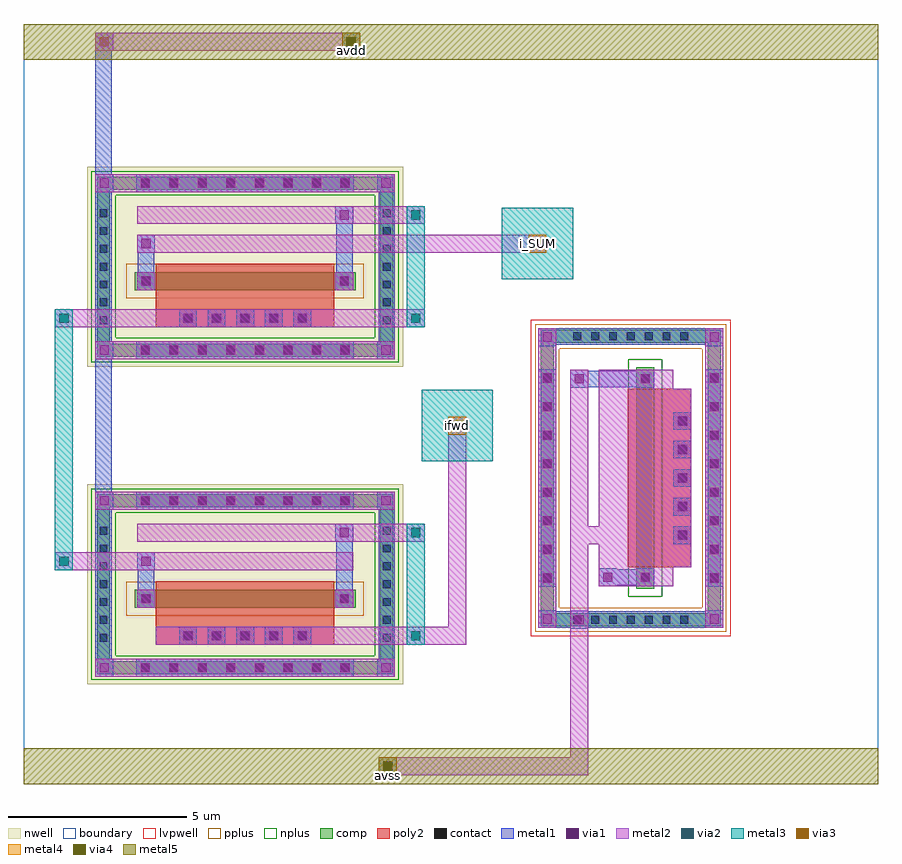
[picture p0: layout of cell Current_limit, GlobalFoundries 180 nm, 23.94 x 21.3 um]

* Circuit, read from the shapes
.subckt Current_limit avdd avss i_SUM ifwd
XM1 avss avss avss avss nfet_03v3 w=0.5u l=5u
XM2 ifwd ifwd n1 avdd pfet_03v3 w=0.5u l=5u
XM3 n1 n1 i_SUM avdd pfet_03v3 w=0.5u l=5u
.ends

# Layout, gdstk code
from math import pi, radians
import gdstk
lib = gdstk.Library(unit=1e-6, precision=1e-09)
def R(c, l, rs):  # rectangles x0, y0, x1, y1
    for r in rs: c.add(gdstk.rectangle(r[:2], r[2:], *l))
def A(c, l, x, y, w, h, nx, ny, dx, dy):  # array of equal rectangles
    R(c, l, [(x+i*dx, y+j*dy, x+i*dx+w, y+j*dy+h) for i in range(nx) for j in range(ny)])
def P(c, l, *ps):  # polygons
    for p in ps: c.add(gdstk.Polygon(p, *l))
boundary = (0, 0)
nwell = (21, 0)
comp = (22, 0)
poly2 = (30, 0)
pplus = (31, 0)
nplus = (32, 0)
contact = (33, 0)
metal1 = (34, 0)
via1 = (35, 0)
metal2 = (36, 0)
via2 = (38, 0)
via3 = (40, 0)
via4 = (41, 0)
metal3 = (42, 0)
metal4 = (46, 0)
metal5 = (81, 0)
lvpwell = (204, 0)

c_m0 = lib.new_cell('M0')
R(c_m0, nwell, [(-4.43,-2.8,4.43,2.8), (-4.27,-2.64,4.27,2.64)])
A(c_m0, comp, -2.98, -2.52, 0.36, 0.36, 8, 2, 0.8, 4.68)
A(c_m0, comp, -4.15, -1.68, 0.36, 0.36, 1, 7, 0, 0.5)
A(c_m0, comp, 3.79, -1.68, 0.36, 0.36, 1, 7, 0, 0.5)
R(c_m0, comp, [(-2.98,-2.52,2.98,-2.16), (-4.15,-1.68,-3.79,1.68), (3.79,-1.68,4.15,1.68), (-3.1,-0.655,3.1,-0.155), (-2.98,2.16,2.98,2.52)])
P(c_m0, comp, [(-4.15,-2.52),(-4.15,-2.16),(-3.79,-2.16),(3.79,-2.16),(3.79,2.16),(-3.79,2.16),(-3.79,-2.16),(-4.15,-2.16),(-4.15,2.52),(4.15,2.52),(4.15,-2.52)])
A(c_m0, poly2, -1.78, -1.625, 0.36, 0.36, 5, 1, 0.8, 0)
R(c_m0, poly2, [(-2.5,-1.695,2.5,-1.195), (-2.5,-1.195,2.5,-0.895), (-2.5,-0.895,2.5,0.085)])
R(c_m0, pplus, [(-3.33,-0.885,3.33,0.075)])
P(c_m0, nplus, [(-4.31,-2.68),(-4.31,-2),(-3.63,-2),(3.63,-2),(3.63,2),(-3.63,2),(-3.63,-2),(-4.31,-2),(-4.31,2.68),(4.31,2.68),(4.31,-2.68)])
A(c_m0, contact, -2.91, -2.45, 0.22, 0.22, 8, 2, 0.8, 4.68)
A(c_m0, contact, -4.08, -1.61, 0.22, 0.22, 1, 7, 0, 0.5)
A(c_m0, contact, 3.86, -1.61, 0.22, 0.22, 1, 7, 0, 0.5)
A(c_m0, contact, -1.71, -1.555, 0.22, 0.22, 5, 1, 0.8, 0)
R(c_m0, contact, [(-2.89,-0.515,-2.67,-0.295), (2.67,-0.515,2.89,-0.295)])
A(c_m0, metal1, -3.05, -2.59, 0.5, 0.5, 8, 2, 0.8, 4.68)
A(c_m0, metal1, -4.2, -1.73, 0.46, 0.46, 1, 7, 0, 0.5)
A(c_m0, metal1, 3.74, -1.73, 0.46, 0.46, 1, 7, 0, 0.5)
A(c_m0, metal1, -1.85, -1.695, 0.5, 0.5, 5, 1, 0.8, 0)
R(c_m0, metal1, [(-4.2,-2.59,-3.7,-2.09), (-4.2,-2.59,-3.7,-2.09), (-4.2,-2.59,-3.74,-2.16), (-3.05,-2.59,3.05,-2.09), (3.7,-2.59,4.2,-2.09), (3.7,-2.59,4.2,-2.09), (3.74,-2.59,4.2,-2.16), (-4.2,-2.16,-3.74,2.16), (3.74,-2.16,4.2,2.16), (-3.03,-0.655,-2.53,-0.155), (-3.03,-0.655,-2.53,-0.155), (-3.01,-0.655,-2.55,-0.155), (2.53,-0.655,3.03,-0.155), (2.53,-0.655,3.03,-0.155), (2.55,-0.655,3.01,-0.155), (-3.01,-0.635,-2.55,-0.175), (2.55,-0.635,3.01,-0.175), (-3.01,-0.155,-2.55,0.895), (2.55,-0.155,3.01,1.695), (-3.03,0.395,-2.53,0.895), (2.53,1.195,3.03,1.695), (-4.2,2.09,-3.7,2.59), (-4.2,2.09,-3.7,2.59), (-3.05,2.09,3.05,2.59), (3.7,2.09,4.2,2.59), (3.7,2.09,4.2,2.59), (-4.2,2.16,-3.74,2.59), (3.74,2.16,4.2,2.59)])
A(c_m0, via1, -2.93, -2.47, 0.26, 0.26, 8, 2, 0.8, 4.68)
A(c_m0, via1, -1.73, -1.575, 0.26, 0.26, 5, 1, 0.8, 0)
R(c_m0, via1, [(-4.08,-2.47,-3.82,-2.21), (3.82,-2.47,4.08,-2.21), (-2.91,-0.535,-2.65,-0.275), (2.65,-0.535,2.91,-0.275), (-2.91,0.515,-2.65,0.775), (2.65,1.315,2.91,1.575), (-4.08,2.21,-3.82,2.47), (3.82,2.21,4.08,2.47)])
A(c_m0, metal2, -3.05, -2.59, 0.5, 0.5, 8, 2, 0.8, 4.68)
A(c_m0, metal2, -1.85, -1.695, 0.5, 0.5, 5, 1, 0.8, 0)
R(c_m0, metal2, [(-4.2,-2.59,-3.7,-2.09), (-4.2,-2.59,-3.7,-2.09), (-4.2,-2.59,-3.79,-2.09), (-3.79,-2.59,3.79,-2.09), (3.7,-2.59,4.2,-2.09), (3.7,-2.59,4.2,-2.09), (3.79,-2.59,4.2,-2.09), (-2.5,-1.695,2.5,-1.195), (-3.03,-0.655,-2.53,-0.155), (-3.03,-0.655,-2.53,-0.155), (2.53,-0.655,3.03,-0.155), (2.53,-0.655,3.03,-0.155), (-3.03,0.395,-2.53,0.895), (-3.03,0.395,3.03,0.895), (-3.03,1.195,3.03,1.695), (2.53,1.195,3.03,1.695), (-4.2,2.09,-3.7,2.59), (-4.2,2.09,-3.7,2.59), (-4.2,2.09,-3.79,2.59), (-3.79,2.09,3.79,2.59), (3.7,2.09,4.2,2.59), (3.7,2.09,4.2,2.59), (3.79,2.09,4.2,2.59)])

c_m1 = lib.new_cell('M1')
R(c_m1, nwell, [(-4.43,-2.8,4.43,2.8), (-4.27,-2.64,4.27,2.64)])
A(c_m1, comp, -2.98, -2.52, 0.36, 0.36, 8, 2, 0.8, 4.68)
A(c_m1, comp, -4.15, -1.68, 0.36, 0.36, 1, 7, 0, 0.5)
A(c_m1, comp, 3.79, -1.68, 0.36, 0.36, 1, 7, 0, 0.5)
R(c_m1, comp, [(-2.98,-2.52,2.98,-2.16), (-4.15,-1.68,-3.79,1.68), (3.79,-1.68,4.15,1.68), (-3.1,-0.655,3.1,-0.155), (-2.98,2.16,2.98,2.52)])
P(c_m1, comp, [(-4.15,-2.52),(-4.15,-2.16),(-3.79,-2.16),(3.79,-2.16),(3.79,2.16),(-3.79,2.16),(-3.79,-2.16),(-4.15,-2.16),(-4.15,2.52),(4.15,2.52),(4.15,-2.52)])
A(c_m1, poly2, -1.78, -1.625, 0.36, 0.36, 5, 1, 0.8, 0)
R(c_m1, poly2, [(-2.5,-1.695,2.5,-1.195), (-2.5,-1.195,2.5,-0.895), (-2.5,-0.895,2.5,0.085)])
R(c_m1, pplus, [(-3.33,-0.885,3.33,0.075)])
P(c_m1, nplus, [(-4.31,-2.68),(-4.31,-2),(-3.63,-2),(3.63,-2),(3.63,2),(-3.63,2),(-3.63,-2),(-4.31,-2),(-4.31,2.68),(4.31,2.68),(4.31,-2.68)])
A(c_m1, contact, -2.91, -2.45, 0.22, 0.22, 8, 2, 0.8, 4.68)
A(c_m1, contact, -4.08, -1.61, 0.22, 0.22, 1, 7, 0, 0.5)
A(c_m1, contact, 3.86, -1.61, 0.22, 0.22, 1, 7, 0, 0.5)
A(c_m1, contact, -1.71, -1.555, 0.22, 0.22, 5, 1, 0.8, 0)
R(c_m1, contact, [(-2.89,-0.515,-2.67,-0.295), (2.67,-0.515,2.89,-0.295)])
A(c_m1, metal1, -3.05, -2.59, 0.5, 0.5, 8, 2, 0.8, 4.68)
A(c_m1, metal1, -4.2, -1.73, 0.46, 0.46, 1, 7, 0, 0.5)
A(c_m1, metal1, 3.74, -1.73, 0.46, 0.46, 1, 7, 0, 0.5)
A(c_m1, metal1, -1.85, -1.695, 0.5, 0.5, 5, 1, 0.8, 0)
R(c_m1, metal1, [(-4.2,-2.59,-3.7,-2.09), (-4.2,-2.59,-3.7,-2.09), (-4.2,-2.59,-3.74,-2.16), (-3.05,-2.59,3.05,-2.09), (3.7,-2.59,4.2,-2.09), (3.7,-2.59,4.2,-2.09), (3.74,-2.59,4.2,-2.16), (-4.2,-2.16,-3.74,2.16), (3.74,-2.16,4.2,2.16), (-3.03,-0.655,-2.53,-0.155), (-3.03,-0.655,-2.53,-0.155), (-3.01,-0.655,-2.55,-0.155), (2.53,-0.655,3.03,-0.155), (2.53,-0.655,3.03,-0.155), (2.55,-0.655,3.01,-0.155), (-3.01,-0.635,-2.55,-0.175), (2.55,-0.635,3.01,-0.175), (-3.01,-0.155,-2.55,0.895), (2.55,-0.155,3.01,1.695), (-3.03,0.395,-2.53,0.895), (2.53,1.195,3.03,1.695), (-4.2,2.09,-3.7,2.59), (-4.2,2.09,-3.7,2.59), (-3.05,2.09,3.05,2.59), (3.7,2.09,4.2,2.59), (3.7,2.09,4.2,2.59), (-4.2,2.16,-3.74,2.59), (3.74,2.16,4.2,2.59)])
A(c_m1, via1, -2.93, -2.47, 0.26, 0.26, 8, 2, 0.8, 4.68)
A(c_m1, via1, -1.73, -1.575, 0.26, 0.26, 5, 1, 0.8, 0)
R(c_m1, via1, [(-4.08,-2.47,-3.82,-2.21), (3.82,-2.47,4.08,-2.21), (-2.91,-0.535,-2.65,-0.275), (2.65,-0.535,2.91,-0.275), (-2.91,0.515,-2.65,0.775), (2.65,1.315,2.91,1.575), (-4.08,2.21,-3.82,2.47), (3.82,2.21,4.08,2.47)])
A(c_m1, metal2, -3.05, -2.59, 0.5, 0.5, 8, 2, 0.8, 4.68)
A(c_m1, metal2, -1.85, -1.695, 0.5, 0.5, 5, 1, 0.8, 0)
R(c_m1, metal2, [(-4.2,-2.59,-3.7,-2.09), (-4.2,-2.59,-3.7,-2.09), (-4.2,-2.59,-3.79,-2.09), (-3.79,-2.59,3.79,-2.09), (3.7,-2.59,4.2,-2.09), (3.7,-2.59,4.2,-2.09), (3.79,-2.59,4.2,-2.09), (-2.5,-1.695,2.5,-1.195), (-3.03,-0.655,-2.53,-0.155), (-3.03,-0.655,-2.53,-0.155), (2.53,-0.655,3.03,-0.155), (2.53,-0.655,3.03,-0.155), (-3.03,0.395,-2.53,0.895), (-3.03,0.395,3.03,0.895), (-3.03,1.195,3.03,1.695), (2.53,1.195,3.03,1.695), (-4.2,2.09,-3.7,2.59), (-4.2,2.09,-3.7,2.59), (-4.2,2.09,-3.79,2.59), (-3.79,2.09,3.79,2.59), (3.7,2.09,4.2,2.59), (3.7,2.09,4.2,2.59), (3.79,2.09,4.2,2.59)])

m1_1 = lib.new_cell('M1$1')
A(m1_1, comp, -2.98, -2.52, 0.36, 0.36, 8, 2, 0.8, 4.68)
A(m1_1, comp, -4.15, -1.68, 0.36, 0.36, 1, 7, 0, 0.5)
A(m1_1, comp, 3.79, -1.68, 0.36, 0.36, 1, 7, 0, 0.5)
R(m1_1, comp, [(-2.98,-2.52,2.98,-2.16), (-4.15,-1.68,-3.79,1.68), (3.79,-1.68,4.15,1.68), (-3.1,-0.655,3.1,-0.155), (-2.98,2.16,2.98,2.52)])
P(m1_1, comp, [(-4.15,-2.52),(-4.15,-2.16),(-3.79,-2.16),(3.79,-2.16),(3.79,2.16),(-3.79,2.16),(-3.79,-2.16),(-4.15,-2.16),(-4.15,2.52),(4.15,2.52),(4.15,-2.52)])
A(m1_1, poly2, -1.78, -1.625, 0.36, 0.36, 5, 1, 0.8, 0)
R(m1_1, poly2, [(-2.5,-1.695,2.5,-1.195), (-2.5,-1.195,2.5,-0.895), (-2.5,-0.895,2.5,0.085)])
P(m1_1, pplus, [(-4.31,-2.68),(-4.31,-2),(-3.63,-2),(3.63,-2),(3.63,2),(-3.63,2),(-3.63,-2),(-4.31,-2),(-4.31,2.68),(4.31,2.68),(4.31,-2.68)])
R(m1_1, nplus, [(-3.33,-0.885,3.33,0.075)])
A(m1_1, contact, -2.91, -2.45, 0.22, 0.22, 8, 2, 0.8, 4.68)
A(m1_1, contact, -4.08, -1.61, 0.22, 0.22, 1, 7, 0, 0.5)
A(m1_1, contact, 3.86, -1.61, 0.22, 0.22, 1, 7, 0, 0.5)
A(m1_1, contact, -1.71, -1.555, 0.22, 0.22, 5, 1, 0.8, 0)
R(m1_1, contact, [(-2.89,-0.515,-2.67,-0.295), (2.67,-0.515,2.89,-0.295)])
A(m1_1, metal1, -3.05, -2.59, 0.5, 0.5, 8, 2, 0.8, 4.68)
A(m1_1, metal1, -4.2, -1.73, 0.46, 0.46, 1, 7, 0, 0.5)
A(m1_1, metal1, 3.74, -1.73, 0.46, 0.46, 1, 7, 0, 0.5)
A(m1_1, metal1, -1.85, -1.695, 0.5, 0.5, 5, 1, 0.8, 0)
R(m1_1, metal1, [(-4.2,-2.59,-3.7,-2.09), (-4.2,-2.59,-3.7,-2.09), (-4.2,-2.59,-3.74,-2.16), (-3.05,-2.59,3.05,-2.09), (3.7,-2.59,4.2,-2.09), (3.7,-2.59,4.2,-2.09), (3.74,-2.59,4.2,-2.16), (-4.2,-2.16,-3.74,2.16), (3.74,-2.16,4.2,2.16), (-3.03,-0.655,-2.53,-0.155), (-3.03,-0.655,-2.53,-0.155), (-3.01,-0.655,-2.55,-0.155), (2.53,-0.655,3.03,-0.155), (2.53,-0.655,3.03,-0.155), (2.55,-0.655,3.01,-0.155), (-3.01,-0.635,-2.55,-0.175), (2.55,-0.635,3.01,-0.175), (-3.01,-0.155,-2.55,0.895), (2.55,-0.155,3.01,1.695), (-3.03,0.395,-2.53,0.895), (2.53,1.195,3.03,1.695), (-4.2,2.09,-3.7,2.59), (-4.2,2.09,-3.7,2.59), (-3.05,2.09,3.05,2.59), (3.7,2.09,4.2,2.59), (3.7,2.09,4.2,2.59), (-4.2,2.16,-3.74,2.59), (3.74,2.16,4.2,2.59)])
A(m1_1, via1, -2.93, -2.47, 0.26, 0.26, 8, 2, 0.8, 4.68)
A(m1_1, via1, -1.73, -1.575, 0.26, 0.26, 5, 1, 0.8, 0)
R(m1_1, via1, [(-4.08,-2.47,-3.82,-2.21), (3.82,-2.47,4.08,-2.21), (-2.91,-0.535,-2.65,-0.275), (2.65,-0.535,2.91,-0.275), (-2.91,0.515,-2.65,0.775), (2.65,1.315,2.91,1.575), (-4.08,2.21,-3.82,2.47), (3.82,2.21,4.08,2.47)])
A(m1_1, metal2, -3.05, -2.59, 0.5, 0.5, 8, 2, 0.8, 4.68)
A(m1_1, metal2, -1.85, -1.695, 0.5, 0.5, 5, 1, 0.8, 0)
R(m1_1, metal2, [(-4.2,-2.59,-3.7,-2.09), (-4.2,-2.59,-3.7,-2.09), (-4.2,-2.59,-3.79,-2.09), (-3.79,-2.59,3.79,-2.09), (3.7,-2.59,4.2,-2.09), (3.7,-2.59,4.2,-2.09), (3.79,-2.59,4.2,-2.09), (-2.5,-1.695,2.5,-1.195), (-3.03,-0.655,-2.53,-0.155), (-3.03,-0.655,-2.53,-0.155), (2.53,-0.655,3.03,-0.155), (2.53,-0.655,3.03,-0.155), (-3.03,0.395,-2.53,0.895), (-3.03,0.395,3.03,0.895), (-3.03,1.195,3.03,1.695), (2.53,1.195,3.03,1.695), (-4.2,2.09,-3.7,2.59), (-4.2,2.09,-3.7,2.59), (-4.2,2.09,-3.79,2.59), (-3.79,2.09,3.79,2.59), (3.7,2.09,4.2,2.59), (3.7,2.09,4.2,2.59), (3.79,2.09,4.2,2.59)])
R(m1_1, lvpwell, [(-4.43,-2.8,4.43,2.8)])

via_stack_d059dced = lib.new_cell('via_stack_d059dced')
R(via_stack_d059dced, metal2, [(-0.25,-0.25,0.25,0.25)])
R(via_stack_d059dced, via2, [(-0.13,-0.13,0.13,0.13)])
R(via_stack_d059dced, via3, [(-0.13,-0.13,0.13,0.13)])
R(via_stack_d059dced, metal3, [(-0.25,-0.25,0.25,0.25)])
R(via_stack_d059dced, metal4, [(-0.25,-0.25,0.25,0.25)])

straight_route_b402ec04 = lib.new_cell('straight_route_b402ec04')
R(straight_route_b402ec04, metal1, [(-4.2,-6.74,-3.74,-2.16)])

c_route_bedf7dd0 = lib.new_cell('c_route_bedf7dd0')
R(c_route_bedf7dd0, metal2, [(-5.33,-8.505,-3.03,-8.005), (-5.33,-8.505,-4.83,-8.005), (-5.33,-1.695,-4.83,-1.195), (-5.33,-1.695,-2.5,-1.195)])
R(c_route_bedf7dd0, via2, [(-5.21,-8.385,-4.95,-8.125), (-5.21,-1.575,-4.95,-1.315)])
R(c_route_bedf7dd0, metal3, [(-5.33,-8.505,-4.83,-8.005), (-5.33,-8.505,-4.83,-8.005), (-5.33,-8.505,-4.83,-1.195), (-5.33,-1.695,-4.83,-1.195), (-5.33,-1.695,-4.83,-1.195)])
P(c_route_bedf7dd0, metal3, [(-4.83,-8.505),(-4.83,-8.005),(-4.83,-8.005),(-4.83,-8.505)],
  [(-4.83,-1.695),(-4.83,-1.195),(-4.83,-1.195),(-4.83,-1.695)])

c_route_4b6a6f06 = lib.new_cell('c_route_4b6a6f06')
R(c_route_4b6a6f06, metal2, [(2.5,-1.695,5.03,-1.195), (4.53,-1.695,5.03,-1.195), (3.03,1.195,5.03,1.695), (4.53,1.195,5.03,1.695)])
R(c_route_4b6a6f06, via2, [(4.65,-1.575,4.91,-1.315), (4.65,1.315,4.91,1.575)])
R(c_route_4b6a6f06, metal3, [(4.53,-1.695,5.03,-1.195), (4.53,-1.695,5.03,-1.195), (4.53,-1.695,5.03,1.695), (4.53,1.195,5.03,1.695), (4.53,1.195,5.03,1.695)])
P(c_route_4b6a6f06, metal3, [(5.03,-1.695),(5.03,-1.195),(5.03,-1.195),(5.03,-1.695)],
  [(5.03,1.195),(5.03,1.695),(5.03,1.695),(5.03,1.195)])

l_route_e9264af4 = lib.new_cell('L_route_e9264af4')
R(l_route_e9264af4, metal2, [(2.5,-10.595,6.195,-10.095), (5.695,-10.595,6.195,-4.705)])

straight_route_ecd45504 = lib.new_cell('straight_route_ecd45504')
R(straight_route_ecd45504, metal2, [(10.415,-8.955,12.005,-2.895)])

straight_route_946b62ad = lib.new_cell('straight_route_946b62ad')
R(straight_route_946b62ad, metal2, [(9.115,-7.775,12.505,-7.275)])

straight_route_b6b944db = lib.new_cell('straight_route_b6b944db')
R(straight_route_b6b944db, metal1, [(9.115,-10.145,9.615,-9.645)])
R(straight_route_b6b944db, via1, [(9.235,-10.025,9.495,-9.765)])
R(straight_route_b6b944db, metal2, [(9.115,-10.145,9.615,-9.645), (9.115,-9.895,9.615,-2.895)])

c_route_d216f0a1 = lib.new_cell('c_route_d216f0a1')
R(c_route_d216f0a1, metal2, [(2.5,-10.595,5.03,-10.095), (4.53,-10.595,5.03,-10.095), (3.03,-7.705,5.03,-7.205), (4.53,-7.705,5.03,-7.205)])
R(c_route_d216f0a1, via2, [(4.65,-10.475,4.91,-10.215), (4.65,-7.585,4.91,-7.325)])
R(c_route_d216f0a1, metal3, [(4.53,-10.595,5.03,-10.095), (4.53,-10.595,5.03,-10.095), (4.53,-10.595,5.03,-7.205), (4.53,-7.705,5.03,-7.205), (4.53,-7.705,5.03,-7.205)])
P(c_route_d216f0a1, metal3, [(5.03,-10.595),(5.03,-10.095),(5.03,-10.095),(5.03,-10.595)],
  [(5.03,-7.705),(5.03,-7.205),(5.03,-7.205),(5.03,-7.705)])

compass_211e5a5b = lib.new_cell('compass_211e5a5b')
R(compass_211e5a5b, metal5, [(-11.97,-0.5,11.97,0.5)])

rectangle_211e5a5b = lib.new_cell('rectangle_211e5a5b')
rectangle_211e5a5b.add(gdstk.Reference(compass_211e5a5b, (11.97,0.5)))

compass_211e5a5b_1 = lib.new_cell('compass_211e5a5b$1')
R(compass_211e5a5b_1, metal5, [(-11.97,-0.5,11.97,0.5)])

rectangle_211e5a5b_1 = lib.new_cell('rectangle_211e5a5b$1')
rectangle_211e5a5b_1.add(gdstk.Reference(compass_211e5a5b_1, (11.97,0.5)))

via_stack_7fdd5994 = lib.new_cell('via_stack_7fdd5994')
R(via_stack_7fdd5994, metal2, [(-0.25,-0.25,0.25,0.25)])
R(via_stack_7fdd5994, via2, [(-0.13,-0.13,0.13,0.13)])
R(via_stack_7fdd5994, via3, [(-0.13,-0.13,0.13,0.13)])
R(via_stack_7fdd5994, via4, [(-0.13,-0.13,0.13,0.13)])
R(via_stack_7fdd5994, metal3, [(-0.25,-0.25,0.25,0.25)])
R(via_stack_7fdd5994, metal4, [(-0.25,-0.25,0.25,0.25)])
R(via_stack_7fdd5994, metal5, [(-0.25,-0.25,0.25,0.25)])

l_route_0775ef16 = lib.new_cell('L_route_0775ef16')
R(l_route_0775ef16, metal1, [(-4.2,2.16,-3.74,6.55), (-4.2,6.05,-3.7,6.55), (-4.2,6.05,-3.7,6.55)])
R(l_route_0775ef16, via1, [(-4.08,6.17,-3.82,6.43)])
R(l_route_0775ef16, metal2, [(-4.2,6.05,2.72,6.55), (-4.2,6.05,-3.7,6.55), (-4.2,6.05,-3.7,6.55)])

l_route_64e08330 = lib.new_cell('L_route_64e08330')
R(l_route_64e08330, metal2, [(3.75,-14.25,9.615,-13.75), (9.115,-14.25,9.615,-2.895)])

compass_layer42__0_size2 = lib.new_cell('compass_layer42__0_size2__2')
R(compass_layer42__0_size2, metal3, [(-1,-1,1,1)])

rectangle_layer42__0_siz = lib.new_cell('rectangle_layer42__0_size2__2')
rectangle_layer42__0_siz.add(gdstk.Reference(compass_layer42__0_size2, (1,1)))

c_compass_layer42__0_size2 = lib.new_cell('compass_layer42__0_size2__2$1')
R(c_compass_layer42__0_size2, metal3, [(-1,-1,1,1)])

c_rectangle_layer42__0_siz = lib.new_cell('rectangle_layer42__0_size2__2$1')
c_rectangle_layer42__0_siz.add(gdstk.Reference(c_compass_layer42__0_size2, (1,1)))

straight_route_f73d6fe0 = lib.new_cell('straight_route_f73d6fe0')
R(straight_route_f73d6fe0, metal2, [(9.23,14.895,14.145,15.395)])

compass_8f91b1b8_1 = lib.new_cell('compass_8f91b1b8$1')
R(compass_8f91b1b8_1, metal5, [(-0.25,-0.25,0.25,0.25)])

rectangle_8f91b1b8 = lib.new_cell('rectangle_8f91b1b8')
rectangle_8f91b1b8.add(gdstk.Reference(compass_8f91b1b8_1, (0.25,0.25)))

compass_8f91b1b8_2 = lib.new_cell('compass_8f91b1b8$2')
R(compass_8f91b1b8_2, metal5, [(-0.25,-0.25,0.25,0.25)])

rectangle_8f91b1b8_1 = lib.new_cell('rectangle_8f91b1b8$1')
rectangle_8f91b1b8_1.add(gdstk.Reference(compass_8f91b1b8_2, (0.25,0.25)))

current_limit = lib.new_cell('Current_limit')
R(current_limit, boundary, [(0,0,23.94,21.3)])
current_limit.add(gdstk.Reference(c_m0, (6.2,14.5)))
current_limit.add(gdstk.Reference(c_m1, (6.2,5.6)))
current_limit.add(gdstk.Reference(m1_1, (17.01,8.575), rotation=pi/2))
current_limit.add(gdstk.Reference(via_stack_d059dced, (14.395,15.145)))
current_limit.add(gdstk.Reference(via_stack_d059dced, (12.145,10.045)))
current_limit.add(gdstk.Reference(straight_route_b402ec04, (6.2,14.5)))
current_limit.add(gdstk.Reference(c_route_bedf7dd0, (6.2,14.5)))
current_limit.add(gdstk.Reference(c_route_4b6a6f06, (6.2,14.5)))
current_limit.add(gdstk.Reference(l_route_e9264af4, (6.2,14.5)))
current_limit.add(gdstk.Reference(straight_route_ecd45504, (6.2,14.5)))
current_limit.add(gdstk.Reference(straight_route_946b62ad, (6.2,14.5)))
current_limit.add(gdstk.Reference(straight_route_b6b944db, (6.2,14.5)))
current_limit.add(gdstk.Reference(c_route_d216f0a1, (6.2,14.5)))
current_limit.add(gdstk.Reference(rectangle_211e5a5b, (0,20.3)))
current_limit.add(gdstk.Reference(rectangle_211e5a5b_1, (0,0)))
current_limit.add(gdstk.Reference(via_stack_7fdd5994, (9.17,20.8)))
current_limit.add(gdstk.Reference(l_route_0775ef16, (6.2,14.5)))
current_limit.add(gdstk.Reference(via_stack_7fdd5994, (10.2,0.5)))
current_limit.add(gdstk.Reference(l_route_64e08330, (6.2,14.5)))
current_limit.add(gdstk.Reference(rectangle_layer42__0_siz, (13.395,14.145)))
current_limit.add(gdstk.Reference(c_rectangle_layer42__0_siz, (11.145,9.045)))
current_limit.add(gdstk.Reference(straight_route_f73d6fe0, (0,0)))
current_limit.add(gdstk.Reference(rectangle_8f91b1b8, (9.17,20.55)))
current_limit.add(gdstk.Reference(rectangle_8f91b1b8_1, (10.2,0.25)))
current_limit.add(gdstk.Label('i_SUM', (14.395,15.145), layer=46, texttype=10))
current_limit.add(gdstk.Label('ifwd', (12.145,10.045), layer=46, texttype=10))
current_limit.add(gdstk.Label('avdd', (9.17,20.55), layer=81, texttype=10))
current_limit.add(gdstk.Label('avss', (10.2,0.25), layer=81, texttype=10))

lib.write_gds('Current_limit.gds')
